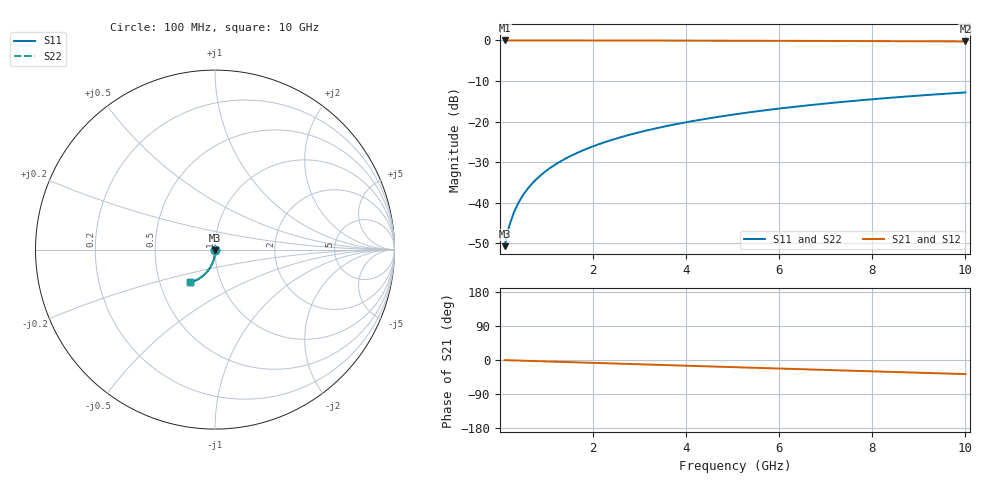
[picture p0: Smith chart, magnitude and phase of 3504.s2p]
# Hz S RI R 50.00
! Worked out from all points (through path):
!   100 points, 100 MHz to 10 GHz, reference 50 ohm
!   highest |S21| = -0.01 dB at 100 MHz (marker M1); lowest = -0.3 dB at 10 GHz (marker M2)
!   group delay of S21, straight-line fit = 10.3 ps
!   lowest |S11| = -50.7 dB at 100 MHz (marker M3), VSWR 1.01, Z = 50.1 - j0.25 ohm
!   |S11| at or under -10 dB: start of sweep to end of sweep
!   |S22| runs from -50.7 to -12.8 dB; largest |S21 - S12| = 0
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1e8  0.0015 -0.00249  0.9984 -0.00657  0.9984 -0.00657  0.0015 -0.00249
2e8  0.00146 -0.00498  0.9984 -0.0131  0.9984 -0.0131  0.00146 -0.00498
3e8  0.00138 -0.00747  0.9982 -0.0197  0.9982 -0.0197  0.00138 -0.00747
4e8  0.00127 -0.00995  0.998 -0.0263  0.998 -0.0263  0.00127 -0.00995
5e8  0.00112 -0.0124  0.9978 -0.0328  0.9978 -0.0328  0.00112 -0.0124
6e8  0.000941 -0.0149  0.9975 -0.0394  0.9975 -0.0394  0.000941 -0.0149
7e8  0.000729 -0.0174  0.9972 -0.046  0.9972 -0.046  0.000729 -0.0174
8e8  0.000484 -0.0199  0.9968 -0.0525  0.9968 -0.0525  0.000484 -0.0199
9e8  0.000206 -0.0223  0.9964 -0.0591  0.9964 -0.0591  0.000206 -0.0223
1.1e9  -0.000448 -0.0273  0.9954 -0.0722  0.9954 -0.0722  -0.000448 -0.0273
1.4e9  -0.00167 -0.0346  0.9935 -0.0918  0.9935 -0.0918  -0.00167 -0.0346
1.8e9  -0.00375 -0.0444  0.9903 -0.1178  0.9903 -0.1178  -0.00375 -0.0444
2.1e9  -0.00565 -0.0516  0.9875 -0.1373  0.9875 -0.1373  -0.00565 -0.0516
2.5e9  -0.00861 -0.0611  0.9829 -0.163  0.9829 -0.163  -0.00861 -0.0611
2.9e9  -0.0121 -0.0704  0.9776 -0.1887  0.9776 -0.1887  -0.0121 -0.0704
3.4e9  -0.0171 -0.0818  0.97 -0.2204  0.97 -0.2204  -0.0171 -0.0818
4.2e9  -0.0265 -0.0992  0.9553 -0.2703  0.9553 -0.2703  -0.0265 -0.0992
5.1e9  -0.0393 -0.1174  0.9355 -0.3251  0.9355 -0.3251  -0.0393 -0.1174
5.9e9  -0.0523 -0.1322  0.915 -0.3724  0.915 -0.3724  -0.0523 -0.1322
6.7e9  -0.0667 -0.1456  0.8919 -0.418  0.8919 -0.418  -0.0667 -0.1456
8.4e9  -0.1011 -0.1684  0.8353 -0.5093  0.8353 -0.5093  -0.1011 -0.1684
1e10  -0.1369 -0.1826  0.7736 -0.5872  0.7736 -0.5872  -0.1369 -0.1826
